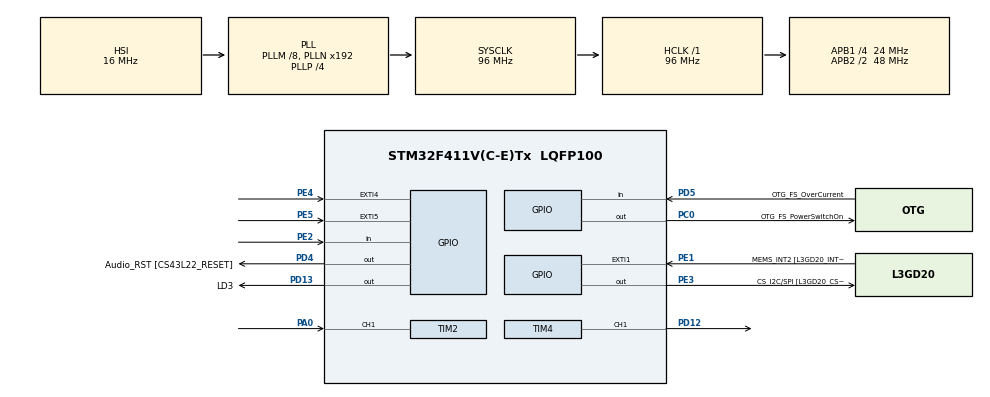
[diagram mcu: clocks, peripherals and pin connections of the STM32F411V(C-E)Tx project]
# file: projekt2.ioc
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Mcu.Family=STM32F4
Mcu.Name=STM32F411V(C-E)Tx
Mcu.Package=LQFP100
NVIC.PriorityGroup=NVIC_PRIORITYGROUP_0
NVIC.TIM2_IRQn=true\:0\:0\:false\:false\:true\:true\:true\:true
NVIC.TIM4_IRQn=true\:0\:0\:false\:false\:true\:true\:true\:true
PA0-WKUP.Signal=S_TIM2_CH1_ETR
PA10.GPIO_Label=OTG_FS_ID
PA10.Signal=USB_OTG_FS_ID
PA11.GPIO_Label=OTG_FS_DM
PA11.Signal=USB_OTG_FS_DM
PA12.GPIO_Label=OTG_FS_DP
PA12.Signal=USB_OTG_FS_DP
PA13.GPIO_Label=SWDIO
PA13.Signal=SYS_JTMS-SWDIO
PA14.GPIO_Label=SWCLK
PA14.Signal=SYS_JTCK-SWCLK
PA4.GPIO_Label=I2S3_WS [CS43L22_LRCK]
PA4.GPIO_Mode=GPIO_MODE_AF_PP
PA4.GPIO_PuPd=GPIO_NOPULL
PA4.GPIO_Speed=GPIO_SPEED_FREQ_LOW
PA4.Signal=I2S3_WS
PA5.GPIO_Label=SPI1_SCK [L3GD20_SC/SPC]
PA5.Signal=SPI1_SCK
PA6.GPIO_Label=SPI1_MISO [L3GD20_AS0/SDO]
PA6.Signal=SPI1_MISO
PA7.GPIO_Label=SPI1_MOSI [L3GD20_SDA/SDI/SDO]
PA7.Signal=SPI1_MOSI
PA9.GPIO_Label=VBUS_FS
PA9.Signal=USB_OTG_FS_VBUS
PB10.GPIO_Label=CLK_IN [MP45DT02_CLK]
PB10.Signal=I2S2_CK
PB12.Signal=I2S2_WS
PB3.GPIO_Label=SWO
PB3.Signal=SYS_JTDO-SWO
PB6.GPIO_Label=Audio_SCL [CS43L22_SCL]
PB6.GPIO_Mode=GPIO_MODE_AF_OD
PB6.GPIO_PuPd=GPIO_NOPULL
PB6.GPIO_Speed=GPIO_SPEED_FREQ_LOW
PB6.Signal=I2C1_SCL
PB9.GPIO_Label=Audio_SDA [CS43L22_SDA]
PB9.GPIO_Mode=GPIO_MODE_AF_OD
PB9.GPIO_PuPd=GPIO_NOPULL
PB9.GPIO_Speed=GPIO_SPEED_FREQ_LOW
PB9.Signal=I2C1_SDA
PC0.GPIO_Label=OTG_FS_PowerSwitchOn
PC0.PinState=GPIO_PIN_SET
PC0.Signal=GPIO_Output
PC10.GPIO_Label=I2S3_SCK [CS43L22_SCLK]
PC10.GPIO_Mode=GPIO_MODE_AF_PP
PC10.GPIO_PuPd=GPIO_NOPULL
PC10.GPIO_Speed=GPIO_SPEED_FREQ_LOW
PC10.Signal=I2S3_CK
PC12.GPIO_Label=I2S3_SD [CS43L22_SDIN]
PC12.GPIO_Mode=GPIO_MODE_AF_PP
PC12.GPIO_PuPd=GPIO_NOPULL
PC12.GPIO_Speed=GPIO_SPEED_FREQ_LOW
PC12.Signal=I2S3_SD
PC14-OSC32_IN.GPIO_Label=PC14-OSC32_IN
PC14-OSC32_IN.Signal=RCC_OSC32_IN
PC15-OSC32_OUT.GPIO_Label=PC15-OSC32_OUT
PC15-OSC32_OUT.Signal=RCC_OSC32_OUT
PC3.GPIO_Label=PDM_OUT [MP45DT02_DOUT]
PC3.Signal=I2S2_SD
PC7.GPIO_Label=I2S3_MCK [CS43L22_MCLK]
PC7.GPIO_Mode=GPIO_MODE_AF_PP
PC7.GPIO_PuPd=GPIO_NOPULL
PC7.GPIO_Speed=GPIO_SPEED_FREQ_LOW
PC7.Signal=I2S3_MCK
PD12.Signal=S_TIM4_CH1
PD13.GPIO_Label=LD3
PD13.Signal=GPIO_Output
PD4.GPIO_Label=Audio_RST [CS43L22_RESET]
PD4.Signal=GPIO_Output
PD5.GPIO_Label=OTG_FS_OverCurrent
PD5.Signal=GPIO_Input
PE1.GPIO_Label=MEMS_INT2 [L3GD20_INT2]
PE1.GPIO_ModeDefaultEXTI=GPIO_MODE_EVT_RISING
PE1.Signal=GPXTI1
PE2.Signal=GPIO_Input
PE3.GPIO_Label=CS_I2C/SPI [L3GD20_CS_I2C/SPI]
PE3.Signal=GPIO_Output
PE4.GPIO_ModeDefaultEXTI=GPIO_MODE_EVT_RISING
PE4.Signal=GPXTI4
PE5.GPIO_ModeDefaultEXTI=GPIO_MODE_EVT_RISING
PE5.Signal=GPXTI5
PH0\ -\ OSC_IN.GPIO_Label=PH0-OSC_IN
PH0\ -\ OSC_IN.Signal=RCC_OSC_IN
PH1\ -\ OSC_OUT.GPIO_Label=PH1-OSC_OUT
PH1\ -\ OSC_OUT.Signal=RCC_OSC_OUT
ProjectManager.HeapSize=0x200
ProjectManager.StackSize=0x400
ProjectManager.TargetToolchain=STM32CubeIDE
RCC.48MHZClocksFreq_Value=48000000
RCC.AHBFreq_Value=96000000
RCC.APB1CLKDivider=RCC_HCLK_DIV4
RCC.APB1Freq_Value=24000000
RCC.APB1TimFreq_Value=48000000
RCC.APB2CLKDivider=RCC_HCLK_DIV2
RCC.APB2Freq_Value=48000000
RCC.APB2TimFreq_Value=96000000
RCC.CortexFreq_Value=96000000
RCC.HCLKFreq_Value=96000000
RCC.HSE_VALUE=8000000
RCC.HSI_VALUE=16000000
RCC.LSE_VALUE=32768
RCC.PLLI2SM=5
RCC.PLLI2SN=200
RCC.PLLM=8
RCC.PLLP=RCC_PLLP_DIV4
RCC.PLLQ=8
RCC.SYSCLKFreq_VALUE=96000000
RCC.SYSCLKSource=RCC_SYSCLKSOURCE_PLLCLK
RCC.VCOOutputFreq_Value=384000000
SH.S_TIM2_CH1_ETR.0=TIM2_CH1,Input_Capture1_from_TI1
SH.S_TIM4_CH1.0=TIM4_CH1,Output Compare1 CH1
TIM2.Channel-Input_Capture1_from_TI1=TIM_CHANNEL_1
TIM2.ICFilter_CH1=15
TIM2.ICPolarity_CH1=TIM_INPUTCHANNELPOLARITY_BOTHEDGE
TIM2.Period=100000
TIM2.Prescaler=48000-1
TIM4.Channel-Output\ Compare1\ CH1=TIM_CHANNEL_1
TIM4.OCMode_1=TIM_OCMODE_TOGGLE
TIM4.Period=4000
TIM4.Prescaler=48000-1
VP_TIM2_VS_ClockSourceINT.Mode=Internal
VP_TIM4_VS_ClockSourceINT.Mode=Internal
board=STM32F411E-DISCO

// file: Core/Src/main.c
/* USER CODE BEGIN Header */
/**
  ******************************************************************************
  * @file           : main.c
  * @brief          : Main program body
  ******************************************************************************
  * @attention
  *	AUTHOR: MILENA KUNA
  * Copyright (c) 2024 STMicroelectronics.
  * All rights reserved.
  *
  * This software is licensed under terms that can be found in the LICENSE file
  * in the root directory of this software component.
  * If no LICENSE file comes with this software, it is provided AS-IS.
  *
  ******************************************************************************
  */
/* USER CODE END Header */
#include "main.h"

/* USER CODE BEGIN Includes */
#include <stdio.h>
#include <stdlib.h>
#include <time.h>
#include <stdbool.h>
/* USER CODE END Includes */

TIM_HandleTypeDef htim2;
TIM_HandleTypeDef htim4;

/* USER CODE BEGIN PV */
extern void initialise_monitor_handles(void);
/* USER CODE END PV */

void SystemClock_Config(void);
static void MX_GPIO_Init(void);
static void MX_TIM4_Init(void);
static void MX_TIM2_Init(void);

int main(void)
{

  /* USER CODE BEGIN 1 */

//	Zaimplementować grę. Gra polega na tym, że użytkownik próbuje zmierzyć czas świecenia
//	diody poprzez wciśnięcie przycisku. Wygrywa jeśli czas wciśnięcia przycisku jest zbliżony (z
//	podaną dokładnością) do czasu świecenia.
//	Przy pomocy jednego timera z kanałem w trybie Input Capture mierzyć czas wciśnięcia
//	przycisku.
//	Drugi timer ustawić na 4 sekundy i w ciągu tego czasu na losowo długi moment (ale nie
//	dłużej niż 3 sekundy i nie krócej niż pół sekundy) zapalać diodę.
//	Jeśli użytkownik poprawnie odczyta czas świecenia diody z dokładnością do ±100 ms to
//	wygrywa. W razie potrzeby dokładność można zmniejszyć (czyli przyjąć większą tolerancję
//	odczytu).
//	Żeby ułatwić sobie zadanie, niech czas świecenia diody zmienia się co rundę. Runda
//	zaczyna się od ustalenia w losowy sposób długości czasu świecenia diody na czas trwania
//	rundy, a kończy na prawidłowym odgadnięciu czasu świecenia diody.
//	Zmierzony czas wydrukować w konsoli i porównać do faktycznego czasu świecenia
//	diody.

	initialise_monitor_handles();
	printf("Trzymaj przycisk, gdy zielona dioda się świeci. Powodzenia! \n");
	srand(time(NULL));
  /* USER CODE END 1 */

  /* MCU Configuration--------------------------------------------------------*/

  /* Reset of all peripherals, Initializes the Flash interface and the Systick. */
  HAL_Init();

  /* Configure the system clock */
  SystemClock_Config();

  /* Initialize all configured peripherals */
  MX_GPIO_Init();
  MX_TIM4_Init();
  MX_TIM2_Init();
  /* USER CODE BEGIN 2 */
	  HAL_TIM_Base_Start_IT(&htim4);
	  HAL_TIM_OC_Start(&htim4, TIM_CHANNEL_1);
	  HAL_TIM_IC_Start_IT(&htim2, TIM_CHANNEL_1);

  /* USER CODE END 2 */

  /* Infinite loop */
  while (1)
  {

  }
}

void SystemClock_Config(void)
{
  RCC_OscInitTypeDef RCC_OscInitStruct = {0};
  RCC_ClkInitTypeDef RCC_ClkInitStruct = {0};

  /** Configure the main internal regulator output voltage
  */
  __HAL_RCC_PWR_CLK_ENABLE();
  __HAL_PWR_VOLTAGESCALING_CONFIG(PWR_REGULATOR_VOLTAGE_SCALE1);

  /** Initializes the RCC Oscillators according to the specified parameters
  * in the RCC_OscInitTypeDef structure.
  */
  RCC_OscInitStruct.OscillatorType = RCC_OSCILLATORTYPE_HSI;
  RCC_OscInitStruct.HSIState = RCC_HSI_ON;
  RCC_OscInitStruct.HSICalibrationValue = RCC_HSICALIBRATION_DEFAULT;
  RCC_OscInitStruct.PLL.PLLState = RCC_PLL_ON;
  RCC_OscInitStruct.PLL.PLLSource = RCC_PLLSOURCE_HSI;
  RCC_OscInitStruct.PLL.PLLM = 8;
  RCC_OscInitStruct.PLL.PLLN = 192;
  RCC_OscInitStruct.PLL.PLLP = RCC_PLLP_DIV4;
  RCC_OscInitStruct.PLL.PLLQ = 8;
  if (HAL_RCC_OscConfig(&RCC_OscInitStruct) != HAL_OK)
  {
    Error_Handler();
  }

  /** Initializes the CPU, AHB and APB buses clocks
  */
  RCC_ClkInitStruct.ClockType = RCC_CLOCKTYPE_HCLK|RCC_CLOCKTYPE_SYSCLK
                              |RCC_CLOCKTYPE_PCLK1|RCC_CLOCKTYPE_PCLK2;
  RCC_ClkInitStruct.SYSCLKSource = RCC_SYSCLKSOURCE_PLLCLK;
  RCC_ClkInitStruct.AHBCLKDivider = RCC_SYSCLK_DIV1;
  RCC_ClkInitStruct.APB1CLKDivider = RCC_HCLK_DIV4;
  RCC_ClkInitStruct.APB2CLKDivider = RCC_HCLK_DIV2;

  if (HAL_RCC_ClockConfig(&RCC_ClkInitStruct, FLASH_LATENCY_3) != HAL_OK)
  {
    Error_Handler();
  }
}

static void MX_TIM2_Init(void)
{

  TIM_ClockConfigTypeDef sClockSourceConfig = {0};
  TIM_MasterConfigTypeDef sMasterConfig = {0};
  TIM_IC_InitTypeDef sConfigIC = {0};

  htim2.Instance = TIM2;
  htim2.Init.Prescaler = 48000-1;
  htim2.Init.CounterMode = TIM_COUNTERMODE_UP;
  htim2.Init.Period = 100000;
  htim2.Init.ClockDivision = TIM_CLOCKDIVISION_DIV1;
  htim2.Init.AutoReloadPreload = TIM_AUTORELOAD_PRELOAD_DISABLE;
  if (HAL_TIM_Base_Init(&htim2) != HAL_OK)
  {
    Error_Handler();
  }
  sClockSourceConfig.ClockSource = TIM_CLOCKSOURCE_INTERNAL;
  if (HAL_TIM_ConfigClockSource(&htim2, &sClockSourceConfig) != HAL_OK)
  {
    Error_Handler();
  }
  if (HAL_TIM_IC_Init(&htim2) != HAL_OK)
  {
    Error_Handler();
  }
  sMasterConfig.MasterOutputTrigger = TIM_TRGO_RESET;
  sMasterConfig.MasterSlaveMode = TIM_MASTERSLAVEMODE_DISABLE;
  if (HAL_TIMEx_MasterConfigSynchronization(&htim2, &sMasterConfig) != HAL_OK)
  {
    Error_Handler();
  }
  sConfigIC.ICPolarity = TIM_INPUTCHANNELPOLARITY_BOTHEDGE;
  sConfigIC.ICSelection = TIM_ICSELECTION_DIRECTTI;
  sConfigIC.ICPrescaler = TIM_ICPSC_DIV1;
  sConfigIC.ICFilter = 15;
  if (HAL_TIM_IC_ConfigChannel(&htim2, &sConfigIC, TIM_CHANNEL_1) != HAL_OK)
  {
    Error_Handler();
  }

}

static void MX_TIM4_Init(void)
{

  TIM_ClockConfigTypeDef sClockSourceConfig = {0};
  TIM_MasterConfigTypeDef sMasterConfig = {0};
  TIM_OC_InitTypeDef sConfigOC = {0};

  htim4.Instance = TIM4;
  htim4.Init.Prescaler = 48000-1;
  htim4.Init.CounterMode = TIM_COUNTERMODE_UP;
  htim4.Init.Period = 4000;
  htim4.Init.ClockDivision = TIM_CLOCKDIVISION_DIV1;
  htim4.Init.AutoReloadPreload = TIM_AUTORELOAD_PRELOAD_DISABLE;
  if (HAL_TIM_Base_Init(&htim4) != HAL_OK)
  {
    Error_Handler();
  }
  sClockSourceConfig.ClockSource = TIM_CLOCKSOURCE_INTERNAL;
  if (HAL_TIM_ConfigClockSource(&htim4, &sClockSourceConfig) != HAL_OK)
  {
    Error_Handler();
  }
  if (HAL_TIM_OC_Init(&htim4) != HAL_OK)
  {
    Error_Handler();
  }
  sMasterConfig.MasterOutputTrigger = TIM_TRGO_RESET;
  sMasterConfig.MasterSlaveMode = TIM_MASTERSLAVEMODE_DISABLE;
  if (HAL_TIMEx_MasterConfigSynchronization(&htim4, &sMasterConfig) != HAL_OK)
  {
    Error_Handler();
  }
  sConfigOC.OCMode = TIM_OCMODE_TOGGLE;
  sConfigOC.Pulse = 0;
  sConfigOC.OCPolarity = TIM_OCPOLARITY_HIGH;
  sConfigOC.OCFastMode = TIM_OCFAST_DISABLE;
  if (HAL_TIM_OC_ConfigChannel(&htim4, &sConfigOC, TIM_CHANNEL_1) != HAL_OK)
  {
    Error_Handler();
  }
  HAL_TIM_MspPostInit(&htim4);

}

static void MX_GPIO_Init(void)
{
  GPIO_InitTypeDef GPIO_InitStruct = {0};

  /* GPIO Ports Clock Enable */
  __HAL_RCC_GPIOE_CLK_ENABLE();
  __HAL_RCC_GPIOC_CLK_ENABLE();
  __HAL_RCC_GPIOH_CLK_ENABLE();
  __HAL_RCC_GPIOA_CLK_ENABLE();
  __HAL_RCC_GPIOB_CLK_ENABLE();
  __HAL_RCC_GPIOD_CLK_ENABLE();

  /*Configure GPIO pin Output Level */
  HAL_GPIO_WritePin(CS_I2C_SPI_GPIO_Port, CS_I2C_SPI_Pin, GPIO_PIN_RESET);

  /*Configure GPIO pin Output Level */
  HAL_GPIO_WritePin(OTG_FS_PowerSwitchOn_GPIO_Port, OTG_FS_PowerSwitchOn_Pin, GPIO_PIN_SET);

  /*Configure GPIO pin Output Level */
  HAL_GPIO_WritePin(GPIOD, LD3_Pin|Audio_RST_Pin, GPIO_PIN_RESET);

  /*Configure GPIO pin : PE2 */
  GPIO_InitStruct.Pin = GPIO_PIN_2;
  GPIO_InitStruct.Mode = GPIO_MODE_INPUT;
  GPIO_InitStruct.Pull = GPIO_NOPULL;
  HAL_GPIO_Init(GPIOE, &GPIO_InitStruct);

  /*Configure GPIO pin : CS_I2C_SPI_Pin */
  GPIO_InitStruct.Pin = CS_I2C_SPI_Pin;
  GPIO_InitStruct.Mode = GPIO_MODE_OUTPUT_PP;
  GPIO_InitStruct.Pull = GPIO_NOPULL;
  GPIO_InitStruct.Speed = GPIO_SPEED_FREQ_LOW;
  HAL_GPIO_Init(CS_I2C_SPI_GPIO_Port, &GPIO_InitStruct);

  /*Configure GPIO pins : PE4 PE5 MEMS_INT2_Pin */
  GPIO_InitStruct.Pin = GPIO_PIN_4|GPIO_PIN_5|MEMS_INT2_Pin;
  GPIO_InitStruct.Mode = GPIO_MODE_EVT_RISING;
  GPIO_InitStruct.Pull = GPIO_NOPULL;
  HAL_GPIO_Init(GPIOE, &GPIO_InitStruct);

  /*Configure GPIO pin : OTG_FS_PowerSwitchOn_Pin */
  GPIO_InitStruct.Pin = OTG_FS_PowerSwitchOn_Pin;
  GPIO_InitStruct.Mode = GPIO_MODE_OUTPUT_PP;
  GPIO_InitStruct.Pull = GPIO_NOPULL;
  GPIO_InitStruct.Speed = GPIO_SPEED_FREQ_LOW;
  HAL_GPIO_Init(OTG_FS_PowerSwitchOn_GPIO_Port, &GPIO_InitStruct);

  /*Configure GPIO pin : PDM_OUT_Pin */
  GPIO_InitStruct.Pin = PDM_OUT_Pin;
  GPIO_InitStruct.Mode = GPIO_MODE_AF_PP;
  GPIO_InitStruct.Pull = GPIO_NOPULL;
  GPIO_InitStruct.Speed = GPIO_SPEED_FREQ_LOW;
  GPIO_InitStruct.Alternate = GPIO_AF5_SPI2;
  HAL_GPIO_Init(PDM_OUT_GPIO_Port, &GPIO_InitStruct);

  /*Configure GPIO pin : I2S3_WS_Pin */
  GPIO_InitStruct.Pin = I2S3_WS_Pin;
  GPIO_InitStruct.Mode = GPIO_MODE_AF_PP;
  GPIO_InitStruct.Pull = GPIO_NOPULL;
  GPIO_InitStruct.Speed = GPIO_SPEED_FREQ_LOW;
  GPIO_InitStruct.Alternate = GPIO_AF6_SPI3;
  HAL_GPIO_Init(I2S3_WS_GPIO_Port, &GPIO_InitStruct);

  /*Configure GPIO pins : SPI1_SCK_Pin SPI1_MISO_Pin SPI1_MOSI_Pin */
  GPIO_InitStruct.Pin = SPI1_SCK_Pin|SPI1_MISO_Pin|SPI1_MOSI_Pin;
  GPIO_InitStruct.Mode = GPIO_MODE_AF_PP;
  GPIO_InitStruct.Pull = GPIO_NOPULL;
  GPIO_InitStruct.Speed = GPIO_SPEED_FREQ_VERY_HIGH;
  GPIO_InitStruct.Alternate = GPIO_AF5_SPI1;
  HAL_GPIO_Init(GPIOA, &GPIO_InitStruct);

  /*Configure GPIO pins : CLK_IN_Pin PB12 */
  GPIO_InitStruct.Pin = CLK_IN_Pin|GPIO_PIN_12;
  GPIO_InitStruct.Mode = GPIO_MODE_AF_PP;
  GPIO_InitStruct.Pull = GPIO_NOPULL;
  GPIO_InitStruct.Speed = GPIO_SPEED_FREQ_LOW;
  GPIO_InitStruct.Alternate = GPIO_AF5_SPI2;
  HAL_GPIO_Init(GPIOB, &GPIO_InitStruct);

  /*Configure GPIO pins : LD3_Pin Audio_RST_Pin */
  GPIO_InitStruct.Pin = LD3_Pin|Audio_RST_Pin;
  GPIO_InitStruct.Mode = GPIO_MODE_OUTPUT_PP;
  GPIO_InitStruct.Pull = GPIO_NOPULL;
  GPIO_InitStruct.Speed = GPIO_SPEED_FREQ_LOW;
  HAL_GPIO_Init(GPIOD, &GPIO_InitStruct);

  /*Configure GPIO pins : I2S3_MCK_Pin I2S3_SCK_Pin I2S3_SD_Pin */
  GPIO_InitStruct.Pin = I2S3_MCK_Pin|I2S3_SCK_Pin|I2S3_SD_Pin;
  GPIO_InitStruct.Mode = GPIO_MODE_AF_PP;
  GPIO_InitStruct.Pull = GPIO_NOPULL;
  GPIO_InitStruct.Speed = GPIO_SPEED_FREQ_LOW;
  GPIO_InitStruct.Alternate = GPIO_AF6_SPI3;
  HAL_GPIO_Init(GPIOC, &GPIO_InitStruct);

  /*Configure GPIO pin : VBUS_FS_Pin */
  GPIO_InitStruct.Pin = VBUS_FS_Pin;
  GPIO_InitStruct.Mode = GPIO_MODE_INPUT;
  GPIO_InitStruct.Pull = GPIO_NOPULL;
  HAL_GPIO_Init(VBUS_FS_GPIO_Port, &GPIO_InitStruct);

  /*Configure GPIO pins : OTG_FS_ID_Pin OTG_FS_DM_Pin OTG_FS_DP_Pin */
  GPIO_InitStruct.Pin = OTG_FS_ID_Pin|OTG_FS_DM_Pin|OTG_FS_DP_Pin;
  GPIO_InitStruct.Mode = GPIO_MODE_AF_PP;
  GPIO_InitStruct.Pull = GPIO_NOPULL;
  GPIO_InitStruct.Speed = GPIO_SPEED_FREQ_VERY_HIGH;
  GPIO_InitStruct.Alternate = GPIO_AF10_OTG_FS;
  HAL_GPIO_Init(GPIOA, &GPIO_InitStruct);

  /*Configure GPIO pin : OTG_FS_OverCurrent_Pin */
  GPIO_InitStruct.Pin = OTG_FS_OverCurrent_Pin;
  GPIO_InitStruct.Mode = GPIO_MODE_INPUT;
  GPIO_InitStruct.Pull = GPIO_NOPULL;
  HAL_GPIO_Init(OTG_FS_OverCurrent_GPIO_Port, &GPIO_InitStruct);

  /*Configure GPIO pins : Audio_SCL_Pin Audio_SDA_Pin */
  GPIO_InitStruct.Pin = Audio_SCL_Pin|Audio_SDA_Pin;
  GPIO_InitStruct.Mode = GPIO_MODE_AF_OD;
  GPIO_InitStruct.Pull = GPIO_NOPULL;
  GPIO_InitStruct.Speed = GPIO_SPEED_FREQ_LOW;
  GPIO_InitStruct.Alternate = GPIO_AF4_I2C1;
  HAL_GPIO_Init(GPIOB, &GPIO_InitStruct);

}

/* USER CODE BEGIN 4 */
#define MIN_ON_TIME 500
#define MAX_ON_TIME 3000
#define WIN_TOLERANCE 100
#define DEBOUNCE_DELAY 100

uint32_t pulse_val;
uint32_t press_moment, release_moment;
uint32_t interrupt_trigger_number = 0;
uint32_t last_capture_time = 0;
bool game_active = false; //is game active flag - required for sync of press_time with actual pulse_val

void HAL_TIM_PeriodElapsedCallback(TIM_HandleTypeDef *htim)
{
    if(htim == &htim4 && !game_active)
    {
        pulse_val = (rand() % (MAX_ON_TIME - MIN_ON_TIME + 1)) + MIN_ON_TIME;
        __HAL_TIM_SET_AUTORELOAD(&htim4, pulse_val);
        HAL_GPIO_WritePin(GPIOA, GPIO_PIN_5, GPIO_PIN_SET);
        HAL_TIM_Base_Start_IT(&htim4);
        game_active = true;
    }
}

void HAL_TIM_OC_DelayCallback(TIM_HandleTypeDef *htim)
{
    if(htim == &htim4)
    {
        HAL_GPIO_WritePin(GPIOA, GPIO_PIN_5, GPIO_PIN_RESET);
        HAL_TIM_Base_Stop_IT(&htim4);
    }
}

void HAL_TIM_IC_CaptureCallback(TIM_HandleTypeDef *htim)
{
    if(htim == &htim2)
    {
        uint32_t current_time = HAL_GetTick();
        if ((current_time - last_capture_time) < DEBOUNCE_DELAY) {
            return;
        }
        last_capture_time = current_time;

        if(interrupt_trigger_number == 0)
        {
            press_moment = HAL_TIM_ReadCapturedValue(htim, TIM_CHANNEL_1);
            HAL_GPIO_WritePin(LD3_GPIO_Port, LD3_Pin, GPIO_PIN_SET);
        }
        else if(interrupt_trigger_number == 1)
        {
            release_moment = HAL_TIM_ReadCapturedValue(htim, TIM_CHANNEL_1);
            HAL_GPIO_WritePin(LD3_GPIO_Port, LD3_Pin, GPIO_PIN_RESET);
        }

        interrupt_trigger_number++;

        if(interrupt_trigger_number == 2)
        {
            interrupt_trigger_number = 0;
            uint32_t press_time = release_moment - press_moment;
            printf("Czas wciśnięcia przycisku: %d ms\n", press_time);

            if(abs((int32_t)press_time - (int32_t)pulse_val) <= WIN_TOLERANCE)
            {
                printf("Gratulacje! Dioda świeciła się %d ms!\n", pulse_val);
            }
            else
            {
                printf("Nie udało się! Dioda świeciła się %d ms!\n", pulse_val);
            }

            game_active = false;
        }
    }
}

/* USER CODE END 4 */

void Error_Handler(void)
{
  __disable_irq();
  while (1)
  {
  }
}
